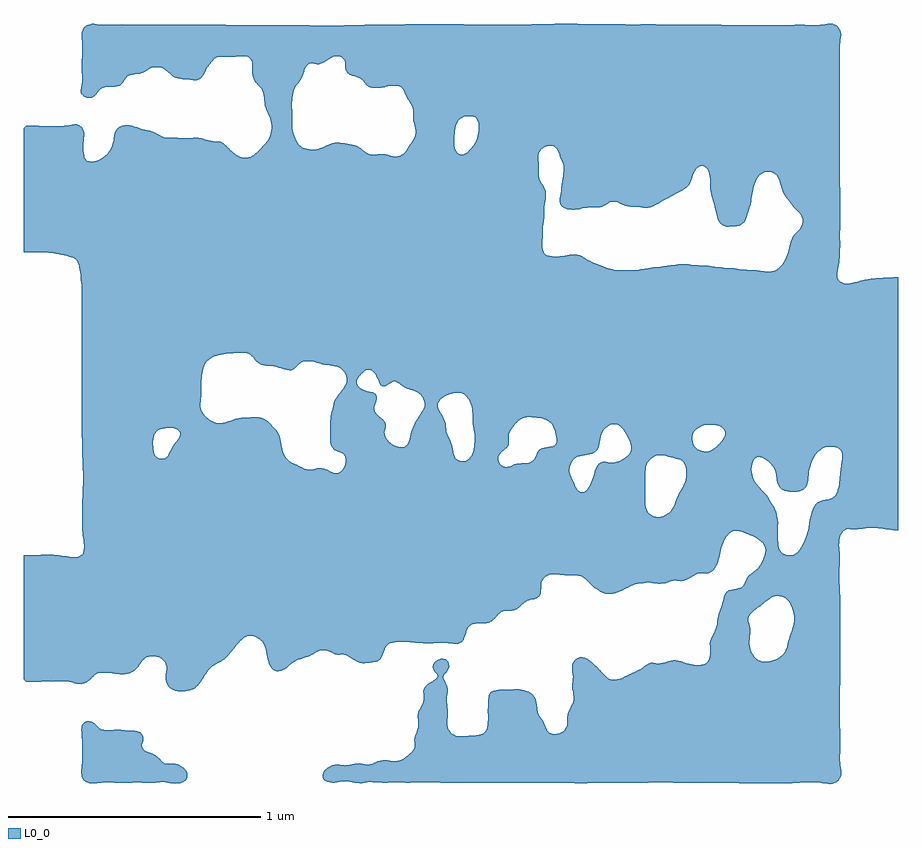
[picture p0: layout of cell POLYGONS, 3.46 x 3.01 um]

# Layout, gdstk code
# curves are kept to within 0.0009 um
import gdstk
lib = gdstk.Library(unit=1e-6, precision=1e-09)
def R(c, l, rs):  # rectangles x0, y0, x1, y1
    for r in rs: c.add(gdstk.rectangle(r[:2], r[2:], *l))
def P(c, l, *ps):  # polygons
    for p in ps: c.add(gdstk.Polygon(p, *l))
L0_0 = (0, 0)

polygons = lib.new_cell('POLYGONS')
R(polygons, L0_0, [(-0.462,-0.38,-0.302,-0.26), (-0.302,-0.38,-0.165,-0.26), (-0.165,-0.38,-0.01,-0.26), (-0.01,-0.38,0.17,-0.26), (0.17,-0.38,0.34,-0.26)])
P(polygons, L0_0, [(-1.47,-1.501),(-1.45,-1.502),(-1.41,-1.498),(-1.38,-1.498),(-1.35,-1.5),(-1.27,-1.498),(-1.22,-1.5),(-1.18,-1.496),(-1.13,-1.503),(-1.11,-1.501),(-1.1,-1.498),(-1.089,-1.49),(-1.083,-1.48),(-1.082,-1.47),(-1.083,-1.46),(-1.09,-1.447),(-1.096,-1.44),(-1.11,-1.431),(-1.12,-1.426),(-1.13,-1.424),(-1.17,-1.423),(-1.18,-1.417),(-1.2,-1.398),(-1.21,-1.391),(-1.22,-1.385),(-1.24,-1.377),(-1.253,-1.37),(-1.261,-1.36),(-1.262,-1.35),(-1.256,-1.33),(-1.256,-1.32),(-1.26,-1.309),(-1.27,-1.299),(-1.28,-1.295),(-1.3,-1.293),(-1.32,-1.293),(-1.36,-1.289),(-1.4,-1.292),(-1.42,-1.289),(-1.434,-1.28),(-1.45,-1.264),(-1.46,-1.257),(-1.47,-1.255),(-1.48,-1.256),(-1.49,-1.261),(-1.498,-1.27),(-1.501,-1.28),(-1.502,-1.29),(-1.499,-1.33),(-1.498,-1.39),(-1.498,-1.41),(-1.502,-1.45),(-1.501,-1.47),(-1.498,-1.48),(-1.492,-1.49),(-1.48,-1.498)],
  [(-1.499,1.471),(-1.5,1.47),(-1.5,1.467),(-1.501,1.46),(-1.501,1.45),(-1.5,1.443),(-1.5,1.44),(-1.499,1.436)],
  [(-1.499,1.37),(-1.5,1.36),(-1.5,1.351),(-1.5,1.35),(-1.5,1.34),(-1.5,1.33),(-1.5,1.325),(-1.5,1.32),(-1.5,1.31),(-1.499,1.302)],
  [(-1.499,1.269),(-1.5,1.264),(-1.5,1.26),(-1.502,1.25),(-1.504,1.24),(-1.503,1.23),(-1.5,1.225),(-1.499,1.224)],
  [(-1.501,-0.03),(-1.499,-0.144),(-1.499,1.092),(-1.508,1.1),(-1.52,1.105),(-1.53,1.105),(-1.56,1.1),(-1.6,1.097),(-1.64,1.097),(-1.72,1.1),(-1.73,1.09),(-1.73,0.6),(-1.64,0.599),(-1.61,0.596),(-1.58,0.59),(-1.54,0.58),(-1.53,0.576),(-1.52,0.568),(-1.511,0.55),(-1.505,0.52),(-1.5,0.45)],
  [(-1.5,-1.107),(-1.499,-1.107),(-1.499,-0.597),(-1.51,-0.604),(-1.52,-0.607),(-1.54,-0.607),(-1.61,-0.598),(-1.73,-0.6),(-1.73,-1.09),(-1.72,-1.1),(-1.65,-1.098),(-1.62,-1.099),(-1.57,-1.097),(-1.55,-1.099),(-1.52,-1.107),(-1.51,-1.108)],
  [(-1.467,1.21),(-1.46,1.211),(-1.45,1.216),(-1.43,1.24),(-1.42,1.248),(-1.41,1.252),(-1.39,1.254),(-1.37,1.254),(-1.36,1.255),(-1.35,1.258),(-1.337,1.27),(-1.325,1.29),(-1.32,1.295),(-1.311,1.3),(-1.28,1.305),(-1.28,1.5),(-1.34,1.501),(-1.38,1.499),(-1.43,1.499),(-1.44,1.501),(-1.46,1.502),(-1.472,1.5),(-1.48,1.497),(-1.49,1.49),(-1.497,1.48),(-1.499,1.471),(-1.498,1.42),(-1.499,1.224),(-1.497,1.22),(-1.49,1.215),(-1.48,1.211)],
  [(-1.44,0.962),(-1.46,0.958),(-1.476,0.96),(-1.48,0.962),(-1.487,0.97),(-1.491,0.98),(-1.494,1),(-1.494,1.03),(-1.491,1.07),(-1.493,1.08),(-1.499,1.092),(-1.499,-0.01),(-1.28,-0.01),(-1.28,1.093),(-1.31,1.101),(-1.33,1.102),(-1.34,1.1),(-1.35,1.096),(-1.358,1.09),(-1.366,1.08),(-1.37,1.07),(-1.374,1.04),(-1.38,1.02),(-1.39,1),(-1.4,0.987),(-1.41,0.978),(-1.42,0.971)],
  [(-1.498,-0.18),(-1.497,-0.24),(-1.494,-0.29),(-1.498,-0.38),(-1.498,-0.5),(-1.493,-0.54),(-1.491,-0.57),(-1.492,-0.58),(-1.495,-0.59),(-1.499,-0.597),(-1.499,-1.107),(-1.48,-1.101),(-1.465,-1.09),(-1.445,-1.07),(-1.44,-1.067),(-1.43,-1.064),(-1.4,-1.063),(-1.35,-1.069),(-1.33,-1.069),(-1.31,-1.065),(-1.299,-1.06),(-1.29,-1.054),(-1.28,-1.044),(-1.28,-0.01),(-1.499,-0.01),(-1.499,-0.17)],
  [(-1.26,1.309),(-1.23,1.326),(-1.22,1.33),(-1.2,1.331),(-1.19,1.33),(-1.168,1.32),(-1.14,1.296),(-1.13,1.29),(-1.12,1.287),(-1.1,1.283),(-1.08,1.283),(-1.05,1.279),(-1.04,1.281),(-1.028,1.289),(-1.028,1.499),(-1.28,1.5),(-1.28,1.305),(-1.27,1.306)],
  [(-1.028,1.051),(-1.04,1.053),(-1.07,1.051),(-1.17,1.053),(-1.189,1.06),(-1.207,1.07),(-1.23,1.08),(-1.26,1.085),(-1.28,1.093),(-1.28,0.97),(-1.028,0.97)],
  [(-1.031,0),(-1.03,0.008),(-1.03,0.01),(-1.029,0.02),(-1.028,0.03),(-1.028,0.97),(-1.28,0.97),(-1.28,-0.01),(-1.032,-0.01)],
  [(-1.028,-0.025),(-1.032,-0.01),(-1.28,-0.01),(-1.28,-0.16),(-1.219,-0.16),(-1.218,-0.14),(-1.213,-0.12),(-1.206,-0.11),(-1.2,-0.105),(-1.19,-0.1),(-1.17,-0.096),(-1.15,-0.094),(-1.14,-0.095),(-1.13,-0.098),(-1.12,-0.103),(-1.112,-0.11),(-1.11,-0.119),(-1.112,-0.13),(-1.12,-0.143),(-1.14,-0.168),(-1.16,-0.208),(-1.17,-0.215),(-1.18,-0.218),(-1.19,-0.217),(-1.2,-0.214),(-1.21,-0.206),(-1.213,-0.2),(-1.218,-0.18),(-1.219,-0.16),(-1.28,-0.16),(-1.28,-0.38),(-1.028,-0.38)],
  [(-1.27,-1.03),(-1.26,-1.017),(-1.25,-1.007),(-1.24,-1.001),(-1.22,-0.998),(-1.203,-1),(-1.19,-1.005),(-1.182,-1.01),(-1.17,-1.023),(-1.164,-1.04),(-1.164,-1.05),(-1.167,-1.07),(-1.167,-1.09),(-1.162,-1.11),(-1.156,-1.12),(-1.15,-1.125),(-1.143,-1.13),(-1.13,-1.135),(-1.12,-1.137),(-1.1,-1.138),(-1.08,-1.136),(-1.07,-1.133),(-1.05,-1.123),(-1.037,-1.11),(-1.028,-1.097),(-1.028,-0.38),(-1.28,-0.38),(-1.28,-1.044)],
  [(-0.82,1.498),(-1.028,1.499),(-1.028,1.289),(-1.02,1.3),(-0.996,1.34),(-0.98,1.359),(-0.97,1.368),(-0.96,1.372),(-0.95,1.373),(-0.89,1.373),(-0.87,1.375),(-0.85,1.375),(-0.84,1.371),(-0.83,1.361),(-0.826,1.35),(-0.825,1.31),(-0.822,1.29),(-0.82,1.286)],
  [(-0.82,0.983),(-0.83,0.977),(-0.85,0.972),(-0.86,0.972),(-0.87,0.974),(-0.89,0.984),(-0.909,1),(-0.94,1.03),(-0.95,1.036),(-0.96,1.038),(-0.97,1.037),(-0.992,1.04),(-1.028,1.051),(-1.028,0.97),(-0.82,0.97)],
  [(-1.028,0.04),(-1.028,0.08),(-1.025,0.11),(-1.02,0.138),(-1.016,0.15),(-1.01,0.162),(-1,0.173),(-0.99,0.18),(-0.967,0.19),(-0.93,0.198),(-0.87,0.202),(-0.846,0.2),(-0.83,0.191),(-0.82,0.181),(-0.82,0.97),(-1.028,0.97)],
  [(-0.82,-0.054),(-0.86,-0.055),(-0.88,-0.057),(-0.93,-0.073),(-0.95,-0.077),(-0.97,-0.076),(-0.99,-0.067),(-1.01,-0.052),(-1.02,-0.04),(-1.028,-0.025),(-1.028,-0.38),(-0.82,-0.38)],
  [(-1.023,-1.09),(-1,-1.054),(-0.986,-1.04),(-0.97,-1.03),(-0.95,-1.02),(-0.93,-1.004),(-0.91,-0.983),(-0.875,-0.94),(-0.86,-0.926),(-0.848,-0.92),(-0.84,-0.918),(-0.82,-0.919),(-0.82,-0.38),(-1.028,-0.38),(-1.028,-1.097)],
  [(-0.77,1.162),(-0.755,1.13),(-0.75,1.11),(-0.749,1.09),(-0.75,1.08),(-0.755,1.06),(-0.759,1.05),(-0.773,1.03),(-0.8,1),(-0.82,0.983),(-0.82,0.97),(-0.636,0.97),(-0.636,1.02),(-0.64,1.023),(-0.65,1.038),(-0.66,1.06),(-0.666,1.08),(-0.668,1.1),(-0.667,1.14),(-0.669,1.17),(-0.669,1.19),(-0.666,1.22),(-0.661,1.24),(-0.651,1.26),(-0.636,1.279),(-0.636,1.497),(-0.82,1.498),(-0.82,1.286),(-0.818,1.28),(-0.811,1.27),(-0.79,1.247),(-0.786,1.24),(-0.782,1.23),(-0.78,1.22),(-0.776,1.18)],
  [(-0.67,0.133),(-0.66,0.138),(-0.64,0.159),(-0.636,0.161),(-0.636,0.97),(-0.82,0.97),(-0.82,0.181),(-0.811,0.17),(-0.8,0.16),(-0.79,0.155),(-0.78,0.152),(-0.75,0.151),(-0.74,0.149),(-0.7,0.136),(-0.68,0.132)],
  [(-0.636,-0.25),(-0.68,-0.227),(-0.69,-0.218),(-0.696,-0.21),(-0.705,-0.19),(-0.714,-0.14),(-0.72,-0.121),(-0.726,-0.11),(-0.734,-0.1),(-0.76,-0.074),(-0.78,-0.06),(-0.79,-0.056),(-0.8,-0.054),(-0.82,-0.054),(-0.82,-0.38),(-0.636,-0.38)],
  [(-0.71,-1.056),(-0.698,-1.05),(-0.66,-1.02),(-0.636,-1.01),(-0.636,-0.38),(-0.82,-0.38),(-0.82,-0.919),(-0.798,-0.93),(-0.787,-0.94),(-0.78,-0.95),(-0.77,-0.98),(-0.76,-1.024),(-0.75,-1.045),(-0.74,-1.054),(-0.73,-1.058),(-0.72,-1.058)],
  [(-0.635,1.28),(-0.629,1.29),(-0.619,1.32),(-0.614,1.33),(-0.61,1.336),(-0.6,1.344),(-0.59,1.347),(-0.57,1.343),(-0.56,1.343),(-0.55,1.346),(-0.54,1.351),(-0.51,1.371),(-0.5,1.374),(-0.49,1.375),(-0.48,1.374),(-0.47,1.369),(-0.462,1.36),(-0.462,1.497),(-0.47,1.496),(-0.636,1.497),(-0.636,1.279)],
  [(-0.462,1.03),(-0.49,1.034),(-0.5,1.033),(-0.51,1.03),(-0.56,1.009),(-0.57,1.006),(-0.58,1.005),(-0.6,1.006),(-0.618,1.01),(-0.63,1.015),(-0.636,1.02),(-0.636,0.97),(-0.462,0.97)],
  [(-0.462,0.97),(-0.636,0.97),(-0.636,0.161),(-0.63,0.165),(-0.62,0.168),(-0.61,0.169),(-0.6,0.169),(-0.58,0.166),(-0.55,0.157),(-0.49,0.147),(-0.48,0.143),(-0.47,0.135),(-0.462,0.126)],
  [(-0.462,0.067),(-0.502,0.01),(-0.515,-0.05),(-0.518,-0.08),(-0.518,-0.14),(-0.517,-0.15),(-0.512,-0.17),(-0.504,-0.18),(-0.5,-0.183),(-0.49,-0.188),(-0.47,-0.195),(-0.462,-0.203)],
  [(-0.479,-0.27),(-0.49,-0.274),(-0.5,-0.274),(-0.51,-0.271),(-0.54,-0.258),(-0.56,-0.255),(-0.57,-0.256),(-0.59,-0.262),(-0.6,-0.262),(-0.611,-0.26),(-0.636,-0.25),(-0.636,-0.38),(-0.462,-0.38),(-0.462,-0.251),(-0.47,-0.263)],
  [(-0.63,-1.008),(-0.6,-0.998),(-0.569,-0.98),(-0.56,-0.976),(-0.55,-0.974),(-0.54,-0.974),(-0.53,-0.976),(-0.5,-0.99),(-0.49,-0.993),(-0.47,-0.991),(-0.462,-0.992),(-0.462,-0.38),(-0.636,-0.38),(-0.636,-1.01)],
  [(-0.49,-1.498),(-0.462,-1.493),(-0.462,-1.43),(-0.47,-1.43),(-0.49,-1.426),(-0.5,-1.427),(-0.51,-1.43),(-0.528,-1.44),(-0.539,-1.45),(-0.544,-1.46),(-0.547,-1.47),(-0.546,-1.48),(-0.54,-1.49),(-0.53,-1.496),(-0.52,-1.498),(-0.51,-1.499)],
  [(-0.33,1.249),(-0.32,1.249),(-0.302,1.252),(-0.302,1.5),(-0.462,1.497),(-0.462,1.36),(-0.457,1.35),(-0.457,1.33),(-0.455,1.32),(-0.45,1.311),(-0.44,1.302),(-0.4,1.288),(-0.39,1.281),(-0.37,1.258),(-0.36,1.252),(-0.35,1.249)],
  [(-0.302,0.986),(-0.34,0.985),(-0.36,0.986),(-0.371,0.99),(-0.4,1.013),(-0.414,1.02),(-0.43,1.025),(-0.462,1.03),(-0.462,0.97),(-0.302,0.97)],
  [(-0.46,0.071),(-0.462,0.067),(-0.462,-0.203),(-0.458,-0.21),(-0.456,-0.22),(-0.456,-0.23),(-0.462,-0.251),(-0.462,-0.26),(-0.302,-0.26),(-0.302,-0.12),(-0.303,-0.11),(-0.302,-0.109),(-0.302,-0.071),(-0.31,-0.062),(-0.326,-0.05),(-0.336,-0.04),(-0.342,-0.03),(-0.344,-0.02),(-0.343,-0.01),(-0.335,0.01),(-0.333,0.02),(-0.334,0.03),(-0.339,0.04),(-0.35,0.045),(-0.38,0.053),(-0.395,0.06),(-0.406,0.07),(-0.412,0.08),(-0.412,0.09),(-0.408,0.1),(-0.392,0.12),(-0.38,0.13),(-0.37,0.134),(-0.36,0.134),(-0.35,0.129),(-0.34,0.118),(-0.32,0.076),(-0.31,0.069),(-0.302,0.07),(-0.302,0.97),(-0.462,0.97),(-0.462,0.126),(-0.453,0.11),(-0.451,0.1),(-0.451,0.09),(-0.454,0.08)],
  [(-0.38,-1.027),(-0.37,-1.025),(-0.36,-1.025),(-0.33,-1.018),(-0.32,-1.01),(-0.313,-1),(-0.302,-0.971),(-0.302,-0.38),(-0.462,-0.38),(-0.462,-0.992),(-0.44,-1.002),(-0.42,-1.015),(-0.4,-1.025),(-0.39,-1.027)],
  [(-0.39,-1.501),(-0.36,-1.496),(-0.302,-1.499),(-0.302,-1.41),(-0.32,-1.412),(-0.36,-1.426),(-0.37,-1.427),(-0.4,-1.422),(-0.42,-1.424),(-0.46,-1.431),(-0.462,-1.43),(-0.462,-1.493),(-0.414,-1.5)],
  [(-0.2,1.026),(-0.22,0.995),(-0.23,0.986),(-0.24,0.98),(-0.26,0.977),(-0.27,0.978),(-0.29,0.984),(-0.302,0.986),(-0.302,0.97),(-0.165,0.97),(-0.165,1.501),(-0.302,1.5),(-0.302,1.252),(-0.27,1.258),(-0.25,1.257),(-0.24,1.254),(-0.23,1.245),(-0.213,1.21),(-0.19,1.171),(-0.188,1.16),(-0.189,1.15),(-0.188,1.12),(-0.18,1.09),(-0.179,1.07),(-0.181,1.06),(-0.185,1.05)],
  [(-0.165,0.97),(-0.302,0.97),(-0.302,0.07),(-0.29,0.075),(-0.27,0.087),(-0.26,0.088),(-0.243,0.08),(-0.23,0.07),(-0.213,0.06),(-0.18,0.05),(-0.165,0.04)],
  [(-0.165,-0.048),(-0.188,-0.09),(-0.196,-0.11),(-0.203,-0.14),(-0.21,-0.16),(-0.22,-0.169),(-0.23,-0.172),(-0.24,-0.172),(-0.25,-0.17),(-0.27,-0.162),(-0.286,-0.15),(-0.294,-0.14),(-0.3,-0.128),(-0.302,-0.12),(-0.302,-0.26),(-0.165,-0.26)],
  [(-0.3,-0.1),(-0.3,-0.1),(-0.297,-0.09),(-0.298,-0.08),(-0.3,-0.075),(-0.302,-0.071),(-0.302,-0.109)],
  [(-0.302,-0.97),(-0.296,-0.96),(-0.285,-0.95),(-0.27,-0.945),(-0.25,-0.941),(-0.22,-0.941),(-0.165,-0.946),(-0.165,-0.38),(-0.302,-0.38)],
  [(-0.29,-1.499),(-0.28,-1.498),(-0.22,-1.499),(-0.165,-1.498),(-0.165,-1.211),(-0.172,-1.23),(-0.172,-1.24),(-0.169,-1.26),(-0.17,-1.28),(-0.183,-1.32),(-0.184,-1.33),(-0.182,-1.35),(-0.183,-1.36),(-0.19,-1.373),(-0.196,-1.38),(-0.21,-1.392),(-0.23,-1.406),(-0.24,-1.41),(-0.25,-1.413),(-0.26,-1.414),(-0.27,-1.414),(-0.302,-1.41),(-0.302,-1.499)],
  [(-0.027,1.05),(-0.024,1.08),(-0.02,1.1),(-0.01,1.12),(-0.01,1.501),(-0.165,1.501),(-0.165,1.04),(-0.027,1.04)],
  [(-0.01,0.989),(-0.012,0.99),(-0.02,1),(-0.02,1),(-0.024,1.01),(-0.026,1.02),(-0.026,1.03),(-0.027,1.04),(-0.165,1.04),(-0.165,0.97),(-0.01,0.97)],
  [(-0.15,-0.024),(-0.165,-0.048),(-0.165,-0.26),(-0.01,-0.26),(-0.01,-0.223),(-0.02,-0.217),(-0.025,-0.21),(-0.029,-0.2),(-0.03,-0.19),(-0.037,-0.16),(-0.045,-0.14),(-0.055,-0.12),(-0.058,-0.11),(-0.061,-0.08),(-0.064,-0.07),(-0.073,-0.05),(-0.085,-0.03),(-0.092,-0.01),(-0.091,0),(-0.087,0.01),(-0.079,0.02),(-0.064,0.03),(-0.038,0.04),(-0.02,0.044),(-0.01,0.044),(-0.01,0.97),(-0.165,0.97),(-0.165,0.04),(-0.155,0.03),(-0.145,0.01),(-0.143,0),(-0.144,-0.01)],
  [(-0.01,-0.949),(-0.01,-0.38),(-0.165,-0.38),(-0.165,-0.946),(-0.11,-0.947),(-0.08,-0.945),(-0.02,-0.95)],
  [(-0.01,-1.315),(-0.02,-1.313),(-0.03,-1.309),(-0.04,-1.301),(-0.049,-1.29),(-0.053,-1.28),(-0.055,-1.27),(-0.055,-1.25),(-0.053,-1.24),(-0.052,-1.22),(-0.057,-1.18),(-0.057,-1.17),(-0.052,-1.14),(-0.053,-1.13),(-0.058,-1.11),(-0.068,-1.09),(-0.071,-1.08),(-0.066,-1.07),(-0.06,-1.065),(-0.05,-1.05),(-0.047,-1.04),(-0.05,-1.021),(-0.06,-1.011),(-0.07,-1.008),(-0.08,-1.008),(-0.1,-1.018),(-0.109,-1.03),(-0.112,-1.04),(-0.11,-1.051),(-0.094,-1.07),(-0.092,-1.08),(-0.101,-1.09),(-0.13,-1.108),(-0.142,-1.12),(-0.147,-1.13),(-0.149,-1.14),(-0.147,-1.17),(-0.15,-1.181),(-0.165,-1.211),(-0.165,-1.498),(-0.01,-1.499)],
  [(0,1.13),(0.01,1.135),(0.03,1.138),(0.04,1.138),(0.05,1.136),(0.06,1.131),(0.067,1.12),(0.07,1.11),(0.071,1.09),(0.069,1.07),(0.065,1.05),(0.055,1.03),(0.04,1.01),(0.03,0.999),(0.02,0.991),(0.01,0.986),(0,0.985),(-0.01,0.988),(-0.01,0.989),(-0.01,0.97),(0.17,0.97),(0.17,1.499),(0.08,1.499),(-0.01,1.501),(-0.01,1.12)],
  [(0.01,-0.227),(0,-0.227),(-0.01,-0.224),(-0.01,-0.223),(-0.01,-0.26),(0.17,-0.26),(0.17,-0.249),(0.16,-0.244),(0.156,-0.24),(0.15,-0.23),(0.147,-0.22),(0.148,-0.21),(0.153,-0.2),(0.17,-0.183),(0.17,0.97),(-0.01,0.97),(-0.01,0.044),(0,0.043),(0.01,0.039),(0.02,0.03),(0.034,0.01),(0.042,-0.01),(0.046,-0.04),(0.047,-0.08),(0.054,-0.12),(0.054,-0.15),(0.051,-0.18),(0.045,-0.2),(0.04,-0.209),(0.029,-0.22),(0.02,-0.225)],
  [(-0.01,-0.949),(0,-0.944),(0.005,-0.94),(0.01,-0.933),(0.025,-0.89),(0.033,-0.88),(0.04,-0.875),(0.05,-0.871),(0.06,-0.869),(0.1,-0.868),(0.11,-0.866),(0.122,-0.86),(0.13,-0.853),(0.151,-0.83),(0.16,-0.823),(0.17,-0.819),(0.17,-0.38),(-0.01,-0.38)],
  [(0.13,-1.5),(0.17,-1.5),(0.17,-1.132),(0.15,-1.132),(0.13,-1.135),(0.12,-1.139),(0.111,-1.15),(0.107,-1.18),(0.106,-1.27),(0.101,-1.29),(0.093,-1.3),(0.09,-1.303),(0.08,-1.308),(0.07,-1.311),(0.04,-1.314),(-0.01,-1.315),(-0.01,-1.499)],
  [(0.306,0.98),(0.308,0.99),(0.313,1),(0.32,1.008),(0.33,1.015),(0.34,1.019),(0.34,1.501),(0.17,1.499),(0.17,0.97),(0.305,0.97)],
  [(0.174,-0.18),(0.184,-0.17),(0.188,-0.16),(0.189,-0.12),(0.192,-0.11),(0.198,-0.1),(0.224,-0.07),(0.23,-0.065),(0.25,-0.055),(0.27,-0.052),(0.29,-0.053),(0.31,-0.056),(0.32,-0.058),(0.34,-0.065),(0.34,0.588),(0.336,0.59),(0.33,0.596),(0.324,0.61),(0.322,0.62),(0.324,0.7),(0.33,0.75),(0.329,0.78),(0.335,0.81),(0.336,0.83),(0.335,0.84),(0.332,0.85),(0.314,0.88),(0.31,0.89),(0.308,0.9),(0.308,0.95),(0.305,0.97),(0.17,0.97),(0.17,-0.183)],
  [(0.34,-0.172),(0.32,-0.176),(0.31,-0.182),(0.304,-0.19),(0.29,-0.219),(0.28,-0.229),(0.27,-0.234),(0.24,-0.236),(0.21,-0.24),(0.19,-0.249),(0.18,-0.251),(0.17,-0.249),(0.17,-0.26),(0.34,-0.26)],
  [(0.18,-0.818),(0.2,-0.818),(0.21,-0.816),(0.22,-0.812),(0.25,-0.788),(0.263,-0.78),(0.28,-0.774),(0.29,-0.773),(0.3,-0.77),(0.31,-0.762),(0.315,-0.75),(0.318,-0.71),(0.321,-0.7),(0.327,-0.69),(0.34,-0.681),(0.34,-0.38),(0.17,-0.38),(0.17,-0.819)],
  [(0.19,-1.5),(0.2,-1.499),(0.34,-1.5),(0.34,-1.291),(0.327,-1.26),(0.31,-1.234),(0.304,-1.22),(0.298,-1.18),(0.291,-1.16),(0.28,-1.148),(0.268,-1.14),(0.25,-1.134),(0.23,-1.13),(0.17,-1.132),(0.17,-1.5)],
  [(0.36,1.02),(0.37,1.016),(0.38,1.006),(0.388,0.99),(0.391,0.98),(0.404,0.95),(0.406,0.94),(0.406,0.92),(0.404,0.9),(0.4,0.88),(0.396,0.84),(0.391,0.81),(0.391,0.8),(0.393,0.79),(0.4,0.78),(0.42,0.77),(0.45,0.768),(0.47,0.77),(0.49,0.775),(0.49,1.501),(0.46,1.502),(0.34,1.501),(0.34,1.019)],
  [(0.43,-0.255),(0.434,-0.24),(0.44,-0.228),(0.45,-0.216),(0.46,-0.21),(0.49,-0.203),(0.49,0.576),(0.48,0.583),(0.47,0.587),(0.46,0.59),(0.45,0.591),(0.38,0.582),(0.36,0.583),(0.34,0.588),(0.34,-0.065),(0.35,-0.072),(0.36,-0.082),(0.365,-0.09),(0.372,-0.11),(0.378,-0.14),(0.378,-0.15),(0.375,-0.16),(0.37,-0.165),(0.36,-0.17),(0.34,-0.172),(0.34,-0.26),(0.429,-0.26)],
  [(0.49,-0.348),(0.48,-0.351),(0.47,-0.349),(0.46,-0.34),(0.449,-0.32),(0.432,-0.28),(0.429,-0.27),(0.429,-0.26),(0.34,-0.26),(0.34,-0.38),(0.49,-0.38)],
  [(0.35,-0.677),(0.37,-0.674),(0.41,-0.678),(0.45,-0.678),(0.47,-0.681),(0.49,-0.691),(0.49,-0.38),(0.34,-0.38),(0.34,-0.681)],
  [(0.49,-1.501),(0.49,-1.005),(0.48,-1.002),(0.47,-1.003),(0.46,-1.006),(0.454,-1.01),(0.445,-1.02),(0.441,-1.03),(0.44,-1.052),(0.443,-1.08),(0.441,-1.13),(0.446,-1.16),(0.446,-1.17),(0.44,-1.188),(0.425,-1.22),(0.422,-1.23),(0.42,-1.271),(0.417,-1.28),(0.411,-1.29),(0.4,-1.299),(0.39,-1.304),(0.38,-1.306),(0.37,-1.307),(0.36,-1.306),(0.347,-1.3),(0.34,-1.291),(0.34,-1.5)],
  [(0.5,0.776),(0.55,0.778),(0.558,0.78),(0.59,0.798),(0.6,0.799),(0.62,0.796),(0.65,0.784),(0.67,0.78),(0.67,1.5),(0.49,1.501),(0.49,0.775)],
  [(0.664,-0.14),(0.67,-0.154),(0.67,0.528),(0.62,0.528),(0.59,0.533),(0.52,0.56),(0.49,0.576),(0.49,-0.203),(0.5,-0.202),(0.52,-0.197),(0.53,-0.191),(0.54,-0.18),(0.545,-0.17),(0.552,-0.13),(0.56,-0.109),(0.567,-0.1),(0.578,-0.09),(0.59,-0.084),(0.6,-0.082),(0.61,-0.082),(0.62,-0.084),(0.632,-0.09),(0.64,-0.098),(0.648,-0.11)],
  [(0.67,-0.192),(0.665,-0.2),(0.65,-0.213),(0.64,-0.22),(0.62,-0.229),(0.61,-0.232),(0.6,-0.233),(0.56,-0.23),(0.55,-0.234),(0.543,-0.24),(0.532,-0.26),(0.523,-0.29),(0.512,-0.32),(0.5,-0.34),(0.49,-0.348),(0.49,-0.38),(0.67,-0.38)],
  [(0.59,-0.752),(0.606,-0.75),(0.62,-0.746),(0.64,-0.738),(0.67,-0.722),(0.67,-0.38),(0.49,-0.38),(0.49,-0.691),(0.53,-0.729),(0.55,-0.743),(0.56,-0.748),(0.57,-0.751)],
  [(0.5,-1.501),(0.67,-1.499),(0.67,-1.069),(0.64,-1.083),(0.62,-1.09),(0.61,-1.092),(0.6,-1.092),(0.589,-1.09),(0.58,-1.085),(0.57,-1.076),(0.52,-1.024),(0.5,-1.009),(0.49,-1.005),(0.49,-1.501)],
  [(0.74,0.776),(0.75,0.778),(0.76,0.782),(0.82,0.813),(0.878,0.845),(0.878,1.5),(0.78,1.5),(0.77,1.501),(0.67,1.5),(0.67,0.78),(0.72,0.776)],
  [(0.878,0.552),(0.85,0.55),(0.75,0.538),(0.7,0.529),(0.67,0.528),(0.67,-0.13),(0.878,-0.13)],
  [(0.728,-0.37),(0.728,-0.28),(0.731,-0.25),(0.734,-0.24),(0.739,-0.23),(0.75,-0.218),(0.76,-0.211),(0.77,-0.206),(0.79,-0.203),(0.81,-0.206),(0.864,-0.22),(0.87,-0.222),(0.878,-0.228),(0.878,-0.13),(0.67,-0.13),(0.67,-0.154),(0.674,-0.17),(0.674,-0.18),(0.67,-0.192),(0.67,-0.38),(0.728,-0.38)],
  [(0.674,-0.72),(0.69,-0.714),(0.71,-0.71),(0.74,-0.707),(0.79,-0.711),(0.81,-0.709),(0.839,-0.7),(0.85,-0.699),(0.87,-0.702),(0.878,-0.701),(0.878,-0.33),(0.855,-0.37),(0.845,-0.4),(0.834,-0.42),(0.82,-0.434),(0.81,-0.44),(0.79,-0.447),(0.78,-0.448),(0.76,-0.445),(0.75,-0.44),(0.739,-0.43),(0.734,-0.42),(0.73,-0.407),(0.728,-0.38),(0.67,-0.38),(0.67,-0.722)],
  [(0.68,-1.499),(0.75,-1.498),(0.878,-1.499),(0.878,-1.021),(0.85,-1.014),(0.83,-1.016),(0.79,-1.027),(0.78,-1.028),(0.76,-1.025),(0.75,-1.025),(0.738,-1.03),(0.71,-1.05),(0.67,-1.069),(0.67,-1.499)],
  [(1.026,1.499),(0.878,1.5),(0.878,0.845),(0.89,0.854),(0.9,0.864),(0.904,0.87),(0.913,0.89),(0.919,0.91),(0.93,0.93),(0.94,0.938),(0.95,0.941),(0.96,0.94),(0.97,0.934),(0.974,0.93),(0.98,0.919),(0.984,0.9),(0.985,0.86),(0.987,0.84),(0.992,0.82),(1.004,0.78),(1.016,0.73),(1.021,0.72),(1.026,0.714)],
  [(0.916,-0.12),(0.92,-0.11),(0.93,-0.1),(0.95,-0.089),(0.96,-0.086),(0.98,-0.083),(1,-0.083),(1.026,-0.089),(1.026,0.539),(0.97,0.546),(0.95,0.546),(0.878,0.552),(0.878,-0.13),(0.914,-0.13)],
  [(0.89,-0.27),(0.89,-0.29),(0.886,-0.31),(0.878,-0.33),(0.878,-0.701),(0.89,-0.697),(0.919,-0.68),(0.94,-0.671),(0.952,-0.67),(0.97,-0.672),(0.98,-0.67),(0.99,-0.665),(1,-0.656),(1.01,-0.641),(1.015,-0.63),(1.026,-0.59),(1.026,-0.155),(1.01,-0.171),(0.99,-0.184),(0.97,-0.189),(0.96,-0.188),(0.95,-0.186),(0.935,-0.18),(0.924,-0.17),(0.92,-0.163),(0.916,-0.15),(0.914,-0.14),(0.914,-0.13),(0.878,-0.13),(0.878,-0.228),(0.885,-0.24),(0.888,-0.25),(0.89,-0.26)],
  [(1.013,-0.87),(1.008,-0.89),(0.985,-0.94),(0.984,-0.95),(0.986,-0.97),(0.986,-0.99),(0.981,-1.01),(0.97,-1.026),(0.96,-1.031),(0.95,-1.033),(0.93,-1.034),(0.91,-1.031),(0.89,-1.026),(0.878,-1.021),(0.878,-1.499),(1.026,-1.5),(1.026,-0.813),(1.017,-0.84)],
  [(1.08,0.702),(1.1,0.705),(1.11,0.709),(1.122,0.72),(1.127,0.73),(1.146,0.79),(1.157,0.86),(1.17,0.89),(1.177,0.9),(1.183,0.905),(1.183,1.498),(1.04,1.498),(1.026,1.499),(1.026,0.714),(1.03,0.709),(1.04,0.704),(1.05,0.701)],
  [(1.15,-0.25),(1.151,-0.24),(1.154,-0.23),(1.159,-0.22),(1.17,-0.211),(1.18,-0.21),(1.183,-0.211),(1.183,0.526),(1.16,0.529),(1.12,0.53),(1.07,0.536),(1.026,0.539),(1.026,-0.089),(1.04,-0.1),(1.045,-0.11),(1.045,-0.12),(1.043,-0.13),(1.038,-0.14),(1.026,-0.155),(1.026,-0.26),(1.149,-0.26)],
  [(1.028,-0.58),(1.033,-0.56),(1.047,-0.53),(1.06,-0.514),(1.07,-0.506),(1.08,-0.503),(1.09,-0.502),(1.11,-0.506),(1.167,-0.53),(1.183,-0.541),(1.183,-0.335),(1.17,-0.319),(1.158,-0.3),(1.151,-0.28),(1.149,-0.26),(1.026,-0.26),(1.026,-0.59)],
  [(1.139,-0.84),(1.146,-0.83),(1.156,-0.82),(1.183,-0.8),(1.183,-0.638),(1.175,-0.65),(1.17,-0.655),(1.139,-0.68),(1.131,-0.69),(1.12,-0.714),(1.116,-0.72),(1.11,-0.725),(1.1,-0.729),(1.06,-0.738),(1.05,-0.746),(1.042,-0.76),(1.031,-0.8),(1.026,-0.813),(1.026,-0.85),(1.136,-0.85)],
  [(1.183,-1.017),(1.18,-1.017),(1.17,-1.011),(1.159,-1),(1.15,-0.986),(1.144,-0.97),(1.142,-0.96),(1.141,-0.94),(1.145,-0.89),(1.141,-0.87),(1.137,-0.86),(1.136,-0.85),(1.026,-0.85),(1.026,-1.5),(1.183,-1.501)],
  [(1.32,1.499),(1.31,1.498),(1.183,1.498),(1.183,0.905),(1.2,0.915),(1.21,0.917),(1.22,0.917),(1.23,0.915),(1.241,0.91),(1.25,0.901),(1.256,0.89),(1.26,0.88),(1.268,0.85),(1.277,0.83),(1.29,0.81),(1.32,0.774)],
  [(1.32,0.67),(1.308,0.65),(1.297,0.61),(1.287,0.58),(1.277,0.56),(1.261,0.54),(1.25,0.531),(1.24,0.526),(1.23,0.524),(1.21,0.523),(1.183,0.526),(1.183,-0.211),(1.19,-0.212),(1.21,-0.224),(1.22,-0.232),(1.235,-0.25),(1.244,-0.27),(1.251,-0.31),(1.254,-0.32),(1.26,-0.331),(1.27,-0.34),(1.28,-0.344),(1.29,-0.347),(1.31,-0.349),(1.32,-0.349)],
  [(1.197,-0.79),(1.23,-0.766),(1.24,-0.762),(1.25,-0.76),(1.27,-0.763),(1.284,-0.77),(1.29,-0.775),(1.302,-0.79),(1.307,-0.8),(1.314,-0.82),(1.319,-0.85),(1.317,-0.87),(1.292,-0.95),(1.29,-0.962),(1.282,-0.98),(1.274,-0.99),(1.26,-1.002),(1.25,-1.008),(1.24,-1.013),(1.22,-1.019),(1.2,-1.021),(1.19,-1.02),(1.183,-1.017),(1.183,-1.501),(1.31,-1.501),(1.32,-1.5),(1.32,-0.595),(1.31,-0.599),(1.3,-0.6),(1.29,-0.599),(1.28,-0.596),(1.27,-0.591),(1.261,-0.58),(1.257,-0.57),(1.255,-0.56),(1.252,-0.53),(1.254,-0.47),(1.253,-0.46),(1.246,-0.43),(1.238,-0.41),(1.215,-0.37),(1.198,-0.35),(1.183,-0.335),(1.183,-0.541),(1.193,-0.55),(1.2,-0.561),(1.204,-0.57),(1.205,-0.58),(1.204,-0.59),(1.198,-0.61),(1.183,-0.638),(1.183,-0.8)],
  [(1.33,-0.348),(1.34,-0.346),(1.354,-0.34),(1.364,-0.33),(1.37,-0.318),(1.372,-0.31),(1.376,-0.27),(1.384,-0.24),(1.392,-0.22),(1.4,-0.206),(1.412,-0.19),(1.42,-0.183),(1.43,-0.177),(1.44,-0.173),(1.45,-0.171),(1.47,-0.17),(1.49,-0.175),(1.499,-0.18),(1.499,0.484),(1.493,0.49),(1.49,0.497),(1.488,0.51),(1.496,0.56),(1.499,0.59),(1.499,1),(1.498,1.01),(1.499,1.48),(1.49,1.493),(1.48,1.499),(1.47,1.502),(1.45,1.502),(1.43,1.499),(1.41,1.498),(1.32,1.499),(1.32,0.774),(1.343,0.75),(1.348,0.74),(1.351,0.73),(1.35,0.71),(1.346,0.7),(1.339,0.69),(1.32,0.67),(1.32,-0.349)],
  [(1.34,-1.5),(1.41,-1.499),(1.46,-1.504),(1.47,-1.503),(1.48,-1.5),(1.49,-1.494),(1.499,-1.482),(1.499,-0.74),(1.496,-0.68),(1.499,-0.61),(1.495,-0.56),(1.496,-0.54),(1.499,-0.528),(1.499,-0.29),(1.494,-0.33),(1.488,-0.35),(1.48,-0.363),(1.47,-0.372),(1.46,-0.376),(1.42,-0.385),(1.41,-0.391),(1.4,-0.403),(1.39,-0.424),(1.379,-0.46),(1.373,-0.5),(1.36,-0.54),(1.35,-0.561),(1.34,-0.577),(1.33,-0.589),(1.32,-0.595),(1.32,-1.5)],
  [(1.499,1.42),(1.5,1.43),(1.5,1.433),(1.501,1.44),(1.502,1.45),(1.503,1.46),(1.502,1.47),(1.5,1.477),(1.499,1.48),(1.499,1.48),(1.499,1.418)],
  [(1.499,1.28),(1.499,1.29),(1.499,1.3),(1.499,1.31),(1.499,1.32),(1.499,1.33),(1.499,1.34),(1.499,1.35),(1.499,1.36),(1.499,1.37),(1.499,1.378),(1.499,1.27)],
  [(1.499,0.6),(1.499,0.61),(1.5,0.62),(1.5,0.64),(1.499,0.65),(1.499,0.68),(1.5,0.69),(1.5,0.85),(1.499,0.86),(1.499,0.941)],
  [(1.5,-0.524),(1.501,-0.52),(1.51,-0.505),(1.52,-0.498),(1.53,-0.495),(1.55,-0.497),(1.57,-0.497),(1.61,-0.491),(1.63,-0.49),(1.67,-0.494),(1.71,-0.5),(1.72,-0.501),(1.73,-0.5),(1.73,0.5),(1.67,0.498),(1.61,0.493),(1.59,0.489),(1.55,0.478),(1.53,0.475),(1.52,0.475),(1.505,0.48),(1.499,0.484),(1.499,-0.18),(1.506,-0.19),(1.508,-0.2),(1.508,-0.21),(1.499,-0.29),(1.499,-0.528)],
  [(1.5,-1.48),(1.503,-1.47),(1.504,-1.46),(1.502,-1.44),(1.5,-1.43),(1.5,-1.42),(1.499,-1.41),(1.499,-1.39),(1.5,-1.38),(1.5,-1.29),(1.499,-1.28),(1.499,-1.12),(1.5,-1.11),(1.5,-0.76),(1.499,-0.75),(1.499,-0.74),(1.499,-1.482)])

lib.write_gds('POLYGONS.gds')
